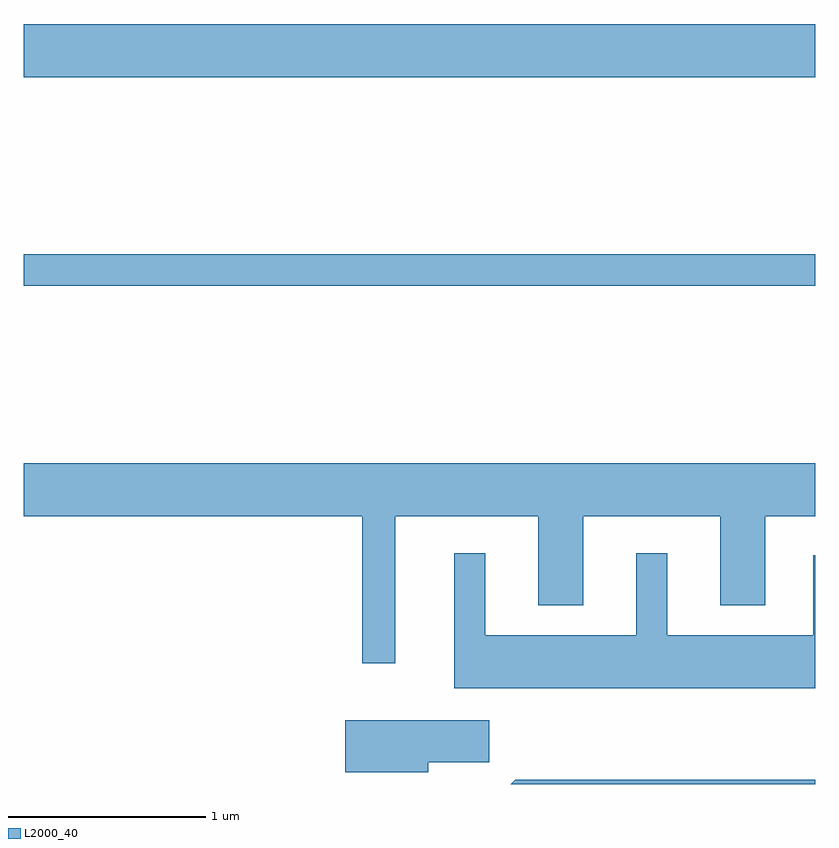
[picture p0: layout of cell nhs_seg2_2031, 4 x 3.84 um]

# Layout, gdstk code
import gdstk
lib = gdstk.Library(unit=1e-6, precision=1e-09)
def R(c, l, rs):  # rectangles x0, y0, x1, y1
    for r in rs: c.add(gdstk.rectangle(r[:2], r[2:], *l))
def P(c, l, *ps):  # polygons
    for p in ps: c.add(gdstk.Polygon(p, *l))
L2000_40 = (2000, 40)

nhs_seg2_2031 = lib.new_cell('nhs_seg2_2031')
R(nhs_seg2_2031, L2000_40, [(243.611,1098.321,247.611,1098.479), (243.611,1099.376,247.611,1099.644)])
P(nhs_seg2_2031, L2000_40, [(245.489,1097.156),(246.211,1097.156),(246.211,1096.706),(246.439,1096.706),(246.439,1097.156),(247.131,1097.156),(247.131,1096.706),(247.359,1096.706),(247.359,1097.156),(247.611,1097.156),(247.611,1097.424),(243.611,1097.424),(243.611,1097.156),(245.321,1097.156),(245.321,1096.413),(245.489,1096.413)],
  [(247.611,1096.959),(247.601,1096.959),(247.601,1096.554),(246.864,1096.554),(246.864,1096.968),(246.706,1096.968),(246.706,1096.554),(245.944,1096.554),(245.944,1096.968),(245.786,1096.968),(245.786,1096.286),(247.611,1096.286)],
  [(245.654,1095.911),(245.964,1095.911),(245.964,1096.124),(245.236,1096.124),(245.236,1095.861),(245.654,1095.861)],
  [(247.611,1095.824),(246.094,1095.824),(246.072,1095.802),(247.611,1095.802)])

lib.write_gds('nhs_seg2_2031.gds')
